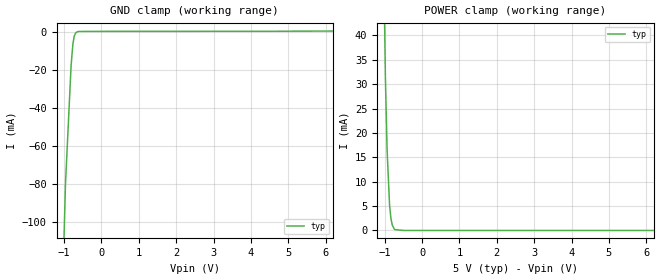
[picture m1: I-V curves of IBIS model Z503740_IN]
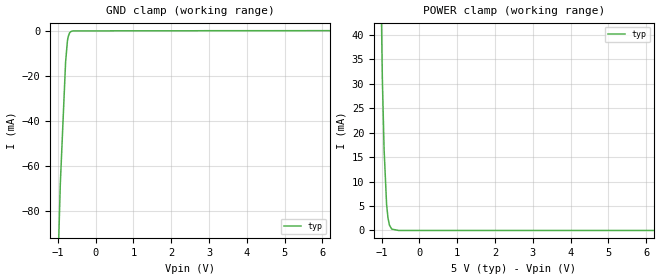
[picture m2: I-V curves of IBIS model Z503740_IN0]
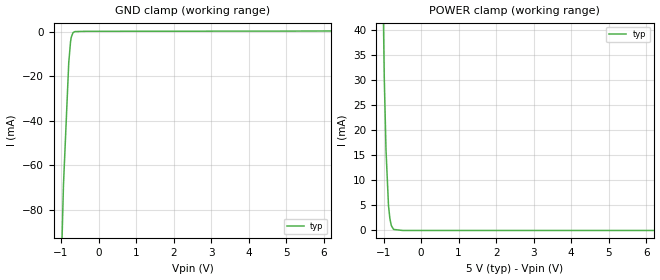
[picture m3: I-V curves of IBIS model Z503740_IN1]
| YOU ARE ONLY AUTHORIZED TO USE THIS SOFTWARE
| ACCORDING TO LICENSOR'S LICENSE RESTRICTIONS.
[IBIS Ver] 3.1
[File Name] mc74ac153n_5.ibs
[File Rev] 2.0
[Source] Measured and created by ICX Technology
[Date] Friday 7/14/00 9:07:58 AM
[Copyright]
| (C) COPYRIGHT 1993-2000
| MENTOR GRAPHICS CORPORATION
| ICX STANDARD LIBRARY, ICX PROJECT MODELING,
| ICX CUSTOM MODELING, ICX VENDOR MODEL
| ALL RIGHTS RESERVED.
| THE FOLLOWING ARE TRADEMARKS OR SERVICE MARKS OF
| MENTOR GRAPHICS CORPORATION:ICX (R), ICX STANDARD
| LIBRARY(R), ICX PROJECT MODELING(R), ICX CUSTOM
| MODELING(R), qualityIBIS(TM), MODELVIEWER(TM),
| AND MODELEDITOR(TM)
| ALL COPIES OF SOFTWARE, INCLUDING BUT NOT LIMITED TO
| ANY MODIFICATIONS, ENHANCEMENTS OR DERIVATIVE WORKS,
| MUST CONTAIN ALL MENTOR GRAPHICS CORPORATION'S
| NOTICES AND LEGENDS, INCLUDING THOSE EMBEDDED IN
| SOFTWARE AND THOSE AFFIXED TO SOFTWARE MEDIUM
| AND CONTAINER, AS RECEIVED FROM MENTOR GRAPHICS
| CORPORATION.
|  ZAP Model Builder 2.7
[Component] MC74AC153N_5
[Manufacturer] OnSemiconductor
[Package]
| variable   typ   min   max
R_pkg  .212ohms NA NA
L_pkg  4.758nH NA NA
C_pkg  1.143pF NA NA
[Pin] signal_name  model_name  R_pin  L_pin C_pin
1 _G1 Z503740_IN0 .224 7.258n 1.578p
2 B Z503740_IN1 .216 5.258n 1.288p
3 C3A Z503740_IN .208 3.758n .998p
4 C2A Z503740_IN .2 2.758n .708p
5 C1A Z503740_IN .2 2.758n .708p
6 C0A Z503740_IN .208 3.758n .998p
7 Y1 Z503740_OUT .216 5.258n 1.288p
8 GND GND .224 7.258n 1.578p
9 Y2 Z503740_OUT .224 7.258n 1.578p
10 C0B Z503740_IN .216 5.258n 1.288p
11 C1B Z503740_IN .208 3.758n .998p
12 C2B Z503740_IN .2 2.758n .708p
13 C3B Z503740_IN .2 2.758n .708p
14 A Z503740_IN1 .208 3.758n .998p
15 _G2 Z503740_IN0 .216 5.258n 1.288p
16 VCC POWER .224 7.258n 1.578p
| Models and submodels in the file (4): Z503740_IN (Input), Z503740_IN0 (Input), Z503740_IN1 (Input), Z503740_OUT (Output)
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| (C) COPYRIGHT 1993-2000
| MENTOR GRAPHICS CORPORATION
| ICX STANDARD LIBRARY, ICX PROJECT MODELING,
| ICX CUSTOM MODELING, ICX VENDOR MODEL
| ALL RIGHTS RESERVED.
| THE FOLLOWING ARE TRADEMARKS OR SERVICE MARKS OF
| MENTOR GRAPHICS CORPORATION:ICX (R), ICX STANDARD
| LIBRARY(R), ICX PROJECT MODELING(R), ICX CUSTOM
| MODELING(R), qualityIBIS(TM), MODELVIEWER(TM),
| AND MODELEDITOR(TM)
| ALL COPIES OF SOFTWARE, INCLUDING BUT NOT LIMITED TO
| ANY MODIFICATIONS, ENHANCEMENTS OR DERIVATIVE WORKS,
| MUST CONTAIN ALL MENTOR GRAPHICS CORPORATION'S
| NOTICES AND LEGENDS, INCLUDING THOSE EMBEDDED IN
| SOFTWARE AND THOSE AFFIXED TO SOFTWARE MEDIUM
| AND CONTAINER, AS RECEIVED FROM MENTOR GRAPHICS
| CORPORATION.
| Model Application Version 1.89 2/18/99.
[Model] Z503740_IN
Model_type Input
Vinl = 1.500V
Vinh = 3.500V
C_comp 4.000pF NA NA
| variable typ   min   max
[Voltage Range] 5.000V NA NA
[GND Clamp Reference] 0.000V NA NA
[POWER Clamp Reference] 5.000V NA NA
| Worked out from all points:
|   GND clamp passes 1 mA (typ) near -0.69 V on its own axis
|   POWER clamp passes 1 mA (typ) near -0.79 V on its own axis
[GND Clamp]
-5V       -2.662A    NA         NA
-1.128V   -201.3mA   NA         NA
-961.2mV  -80.34mA   NA         NA
-809.9mV  -17.73mA   NA         NA
-762.8mV  -6.702mA   NA         NA
-728.9mV  -2.566mA   NA         NA
-686.7mV  -695.1uA   NA         NA
-648mV    -125.2uA   NA         NA
10V       546.9uA    NA         NA
[POWER Clamp]
-5V       3.455A     NA         NA
-1.226V   192mA      NA         NA
-1.093V   92.57mA    NA         NA
-980mV    31.52mA    NA         NA
-934mV    16.53mA    NA         NA
-868mV    5.203mA    NA         NA
-832mV    2.463mA    NA         NA
-793mV    1.043mA    NA         NA
-732mV    178.3uA    NA         NA
-488mV    0A         NA         NA
10V       0A         NA         NA
| (C) COPYRIGHT 1993-2000
| MENTOR GRAPHICS CORPORATION
| ICX STANDARD LIBRARY, ICX PROJECT MODELING,
| ICX CUSTOM MODELING, ICX VENDOR MODEL
| ALL RIGHTS RESERVED.
| THE FOLLOWING ARE TRADEMARKS OR SERVICE MARKS OF
| MENTOR GRAPHICS CORPORATION:ICX (R), ICX STANDARD
| LIBRARY(R), ICX PROJECT MODELING(R), ICX CUSTOM
| MODELING(R), qualityIBIS(TM), MODELVIEWER(TM),
| AND MODELEDITOR(TM)
| ALL COPIES OF SOFTWARE, INCLUDING BUT NOT LIMITED TO
| ANY MODIFICATIONS, ENHANCEMENTS OR DERIVATIVE WORKS,
| MUST CONTAIN ALL MENTOR GRAPHICS CORPORATION'S
| NOTICES AND LEGENDS, INCLUDING THOSE EMBEDDED IN
| SOFTWARE AND THOSE AFFIXED TO SOFTWARE MEDIUM
| AND CONTAINER, AS RECEIVED FROM MENTOR GRAPHICS
| CORPORATION.
| Model Application Version 1.89 2/18/99.
[Model] Z503740_IN0
Model_type Input
Vinl = 1.500V
Vinh = 3.500V
C_comp 4.000pF NA NA
| variable typ   min   max
[Voltage Range] 5.000V NA NA
[GND Clamp Reference] 0.000V NA NA
[POWER Clamp Reference] 5.000V NA NA
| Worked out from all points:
|   GND clamp passes 1 mA (typ) near -0.69 V on its own axis
|   POWER clamp passes 1 mA (typ) near -0.78 V on its own axis
[GND Clamp]
-5V       -2.432A    NA         NA
-1.021V   -118.9mA   NA         NA
-935.1mV  -68.23mA   NA         NA
-794.9mV  -13.79mA   NA         NA
-746.8mV  -4.446mA   NA         NA
-728.8mV  -2.637mA   NA         NA
-686.7mV  -700.7uA   NA         NA
-648.2mV  -124uA     NA         NA
10V       240.5uA    NA         NA
[POWER Clamp]
-5V       3.177A     NA         NA
-1.106V   99.45mA    NA         NA
-981mV    31.45mA    NA         NA
-934mV    16.61mA    NA         NA
-868mV    5.363mA    NA         NA
-831mV    2.581mA    NA         NA
-793mV    1.117mA    NA         NA
-732mV    279.8uA    NA         NA
-549mV    0A         NA         NA
10V       0A         NA         NA
| (C) COPYRIGHT 1993-2000
| MENTOR GRAPHICS CORPORATION
| ICX STANDARD LIBRARY, ICX PROJECT MODELING,
| ICX CUSTOM MODELING, ICX VENDOR MODEL
| ALL RIGHTS RESERVED.
| THE FOLLOWING ARE TRADEMARKS OR SERVICE MARKS OF
| MENTOR GRAPHICS CORPORATION:ICX (R), ICX STANDARD
| LIBRARY(R), ICX PROJECT MODELING(R), ICX CUSTOM
| MODELING(R), qualityIBIS(TM), MODELVIEWER(TM),
| AND MODELEDITOR(TM)
| ALL COPIES OF SOFTWARE, INCLUDING BUT NOT LIMITED TO
| ANY MODIFICATIONS, ENHANCEMENTS OR DERIVATIVE WORKS,
| MUST CONTAIN ALL MENTOR GRAPHICS CORPORATION'S
| NOTICES AND LEGENDS, INCLUDING THOSE EMBEDDED IN
| SOFTWARE AND THOSE AFFIXED TO SOFTWARE MEDIUM
| AND CONTAINER, AS RECEIVED FROM MENTOR GRAPHICS
| CORPORATION.
| Model Application Version 1.89 2/18/99.
[Model] Z503740_IN1
Model_type Input
Vinl = 1.500V
Vinh = 3.500V
C_comp 4.000pF NA NA
| variable typ   min   max
[Voltage Range] 5.000V NA NA
[GND Clamp Reference] 0.000V NA NA
[POWER Clamp Reference] 5.000V NA NA
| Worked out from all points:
|   GND clamp passes 1 mA (typ) near -0.69 V on its own axis
|   POWER clamp passes 1 mA (typ) near -0.79 V on its own axis
[GND Clamp]
-5V       -2.649A    NA         NA
-934.8mV  -68.62mA   NA         NA
-794.5mV  -13.97mA   NA         NA
-746.3mV  -4.537mA   NA         NA
-729.1mV  -2.696mA   NA         NA
-686.8mV  -722.6uA   NA         NA
-628mV    -18.44uA   NA         NA
10V       446.4uA    NA         NA
[POWER Clamp]
-5V       3.188A     NA         NA
-1.108V   98.52mA    NA         NA
-981mV    30.74mA    NA         NA
-934mV    16.04mA    NA         NA
-868mV    5.028mA    NA         NA
-831mV    2.383mA    NA         NA
-793mV    990.6uA    NA         NA
-732mV    214.6uA    NA         NA
-488mV    0A         NA         NA
10V       0A         NA         NA
